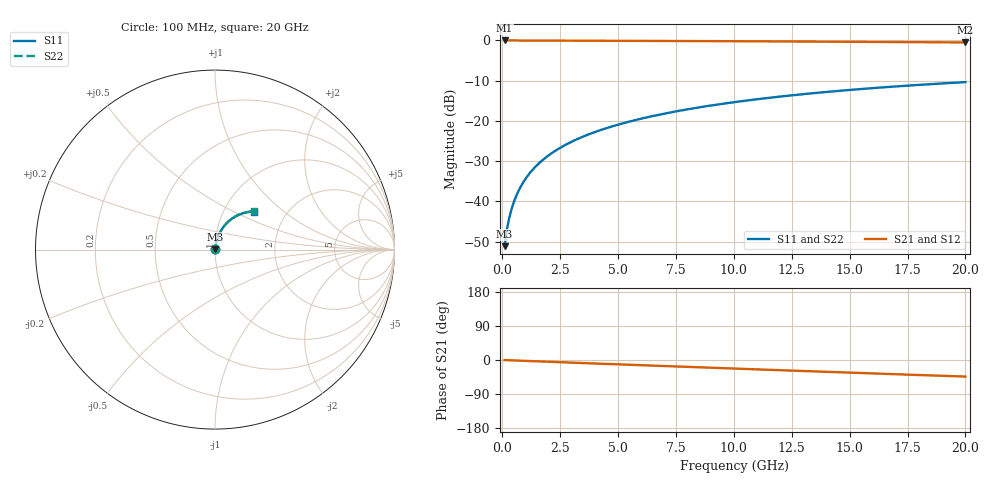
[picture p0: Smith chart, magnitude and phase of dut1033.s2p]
! Touchstone file exported from HFSS 2026.1.0
!  File:  C:/ffzhzh/LocalFiles/Ansys_Project_Files/temp_train_TMRDL_1033_1783160067_18472.aedt
!  Generated:  06:15:43 PM Jul  4, 2026
!  Design:  TMRDL
!  Project:  temp_train_TMRDL_1033_1783160067_18472
! Variables:
!  h_bsmrdl = 2um
!  h_ox = 20um
!  h_rdl = 5um
!  h_sub = 80um
!  h_tmrdl = 5.35um
!  h_tsv = 80um
!  h_via = 3um
!  l_bsmrdl = 300um
!  l_sub = 1093.93um
!  l_tmrdl = 693.93um
!  m_sub = 200um
!  pitch = 51.76um
!  r_tsv = 6um
!  s_tmrdl = 10um
!  w_bsmrdl = 18um
!  w_sub = 500um
!  w_tmrdl = 29.76um
!  x_tsv_center1 = 708.81um
!  x_tsv_center2 = 1026.81um
!  x_tsv_center3 = 1750.5um
!  x_tsv_center4 = 2068.5um
!  x_tsv_center5 = 2792.19um
!  x_tsv_center6 = 3110.19um
# GHz S MA R 50.000000
! Terminal data exported
! Port[1] = TM_RDL1_1_T1
! Port[2] = TM_RDL1_1_T2
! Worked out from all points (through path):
!   200 points, 100 MHz to 20 GHz, reference 50 ohm
!   highest |S21| = -0.02 dB at 100 MHz (marker M1); lowest = -0.5 dB at 20 GHz (marker M2)
!   group delay of S21, straight-line fit = 6.07 ps
!   lowest |S11| = -51.1 dB at 100 MHz (marker M3), VSWR 1.01, Z = 50.2 + j0.212 ohm
!   |S11| at or under -10 dB: start of sweep to end of sweep
!   |S22| runs from -51.1 to -10.4 dB; largest |S21 - S12| = 2.7e-15
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0.1  0.002779 49.6  0.9982 -0.2  0.9982 -0.2  0.002779 49.6
! Gamma 0 0 0 0
! Port Impedance 50 0 50 0
0.2  0.004501 63.4  0.998 -0.5  0.998 -0.5  0.004501 63.4
0.3  0.006251 69.7  0.9979 -0.7  0.9979 -0.7  0.006251 69.7
0.4  0.008029 73.4  0.9978 -1.0  0.9978 -1.0  0.008029 73.4
0.5  0.009832 75.8  0.9977 -1.2  0.9977 -1.2  0.009832 75.8
0.6  0.01165 77.4  0.9977 -1.4  0.9977 -1.4  0.01165 77.4
0.8  0.01532 79.3  0.9975 -1.9  0.9975 -1.9  0.01532 79.3
1.1  0.02085 80.5  0.9973 -2.6  0.9973 -2.6  0.02085 80.5
1.3  0.02454 80.8  0.9971 -3.0  0.9971 -3.0  0.02454 80.8
1.5  0.02821 80.9  0.9968 -3.5  0.9968 -3.5  0.02821 80.9
1.8  0.03369 80.7  0.9964 -4.2  0.9964 -4.2  0.03369 80.7
2.1  0.03914 80.4  0.996 -4.9  0.996 -4.9  0.03914 80.4
2.7  0.0499 79.5  0.995 -6.3  0.995 -6.3  0.0499 79.5
3.5  0.06401 78.0  0.9936 -8.1  0.9936 -8.1  0.06401 78.0
4.2  0.07614 76.6  0.9922 -9.7  0.9922 -9.7  0.07614 76.6
5  0.0898 75.0  0.9905 -11.5  0.9905 -11.5  0.0898 75.0
6.8  0.1198 71.4  0.9864 -15.5  0.9864 -15.5  0.1198 71.4
8.3  0.1441 68.3  0.9825 -18.9  0.9825 -18.9  0.1441 68.3
10.1  0.1722 64.6  0.9773 -22.8  0.9773 -22.8  0.1722 64.6
13.4  0.2206 57.8  0.9666 -29.9  0.9666 -29.9  0.2206 57.8
16.7  0.2643 51.1  0.9549 -36.9  0.9549 -36.9  0.2644 51.1
20  0.3031 44.4  0.943 -43.7  0.943 -43.7  0.3031 44.5
